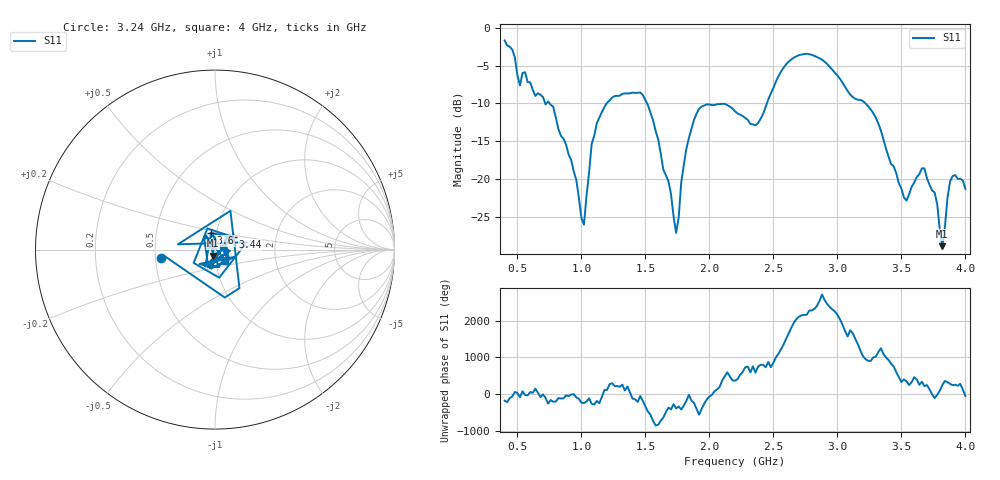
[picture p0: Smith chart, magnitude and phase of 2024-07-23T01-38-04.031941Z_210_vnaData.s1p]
!Created with skrf (http://scikit-rf.org).
# Hz S RI R 50.0
!freq ReS11 ImS11
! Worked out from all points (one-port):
!   181 points, 400 MHz to 4 GHz, reference 50 ohm
!   lowest |S11| = -28.9 dB at 3.82 GHz (marker M1), VSWR 1.07, Z = 48.8 - j3.35 ohm
!   |S11| at or under -10 dB: 751.5 MHz to 1.198 GHz (446.3 MHz wide, 45.8 % of centre); 1.513 GHz to 2.45 GHz (936.9 MHz wide, 47.3 % of centre); 3.219 GHz to end of sweep (the widest 3 of 4)
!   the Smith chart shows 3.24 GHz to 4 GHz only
!   S11 on the Smith chart (normalised r, x): 3.24 GHz: 0.54, -0.05; 3.44 GHz: 1.21, +0.17; 3.6 GHz: 0.94, +0.18; 4 GHz: 1.11, -0.14
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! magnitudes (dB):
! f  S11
! 400 MHz  -1.7
! 520 MHz  -7.6
! 560 MHz  -5.9
! 860 MHz  -14.7
! 1.02 GHz  -26.0
! 1.08 GHz  -15.4
! 1.12 GHz  -12.6
! 1.3 GHz  -9.0
! 1.52 GHz  -10.3
! 1.68 GHz  -20.3
! 1.74 GHz  -27.1
! 1.76 GHz  -25.1
! 1.82 GHz  -16.0
! 1.9 GHz  -11.4
! 2.2 GHz  -11.0
! 2.38 GHz  -12.6
! 2.66 GHz  -4.0
! 2.88 GHz  -4.2
! 3.1 GHz  -8.8
! 3.24 GHz  -10.4
! 3.44 GHz  -18.3
! 3.56 GHz  -22.0
! 3.6 GHz  -20.5
! 3.68 GHz  -18.6
! 3.76 GHz  -21.8
! 3.82 GHz  -28.9
! 3.88 GHz  -20.4
! 4 GHz  -21.3
